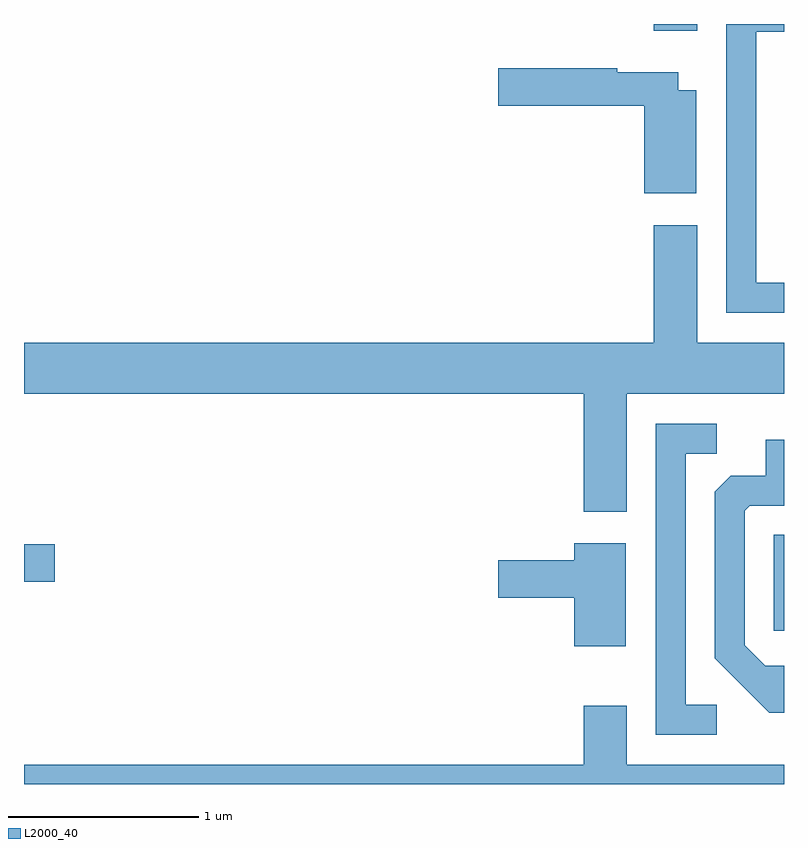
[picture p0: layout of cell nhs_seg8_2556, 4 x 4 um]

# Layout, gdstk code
import gdstk
lib = gdstk.Library(unit=1e-6, precision=1e-09)
def R(c, l, rs):  # rectangles x0, y0, x1, y1
    for r in rs: c.add(gdstk.rectangle(r[:2], r[2:], *l))
def P(c, l, *ps):  # polygons
    for p in ps: c.add(gdstk.Polygon(p, *l))
L2000_40 = (2000, 40)

nhs_seg8_2556 = lib.new_cell('nhs_seg8_2556')
R(nhs_seg8_2556, L2000_40, [(265.556,1855.148,265.611,1855.654), (261.611,1855.406,261.774,1855.604), (264.926,1858.306,265.154,1858.342)])
P(nhs_seg8_2556, L2000_40, [(265.611,1856.979),(265.464,1856.979),(265.464,1858.301),(265.611,1858.301),(265.611,1858.342),(265.306,1858.342),(265.306,1856.821),(265.611,1856.821)],
  [(265.149,1857.994),(265.054,1857.994),(265.054,1858.089),(264.734,1858.089),(264.734,1858.109),(264.106,1858.109),(264.106,1857.911),(264.876,1857.911),(264.876,1857.451),(265.149,1857.451)],
  [(264.784,1856.396),(265.611,1856.396),(265.611,1856.664),(265.154,1856.664),(265.154,1857.284),(264.926,1857.284),(264.926,1856.664),(261.611,1856.664),(261.611,1856.396),(264.556,1856.396),(264.556,1855.776),(264.784,1855.776)],
  [(265.258,1854.759),(265.094,1854.759),(265.094,1856.081),(265.258,1856.081),(265.258,1856.239),(264.936,1856.239),(264.936,1854.601),(265.258,1854.601)],
  [(265.611,1854.964),(265.512,1854.964),(265.404,1855.072),(265.404,1855.779),(265.432,1855.806),(265.611,1855.806),(265.611,1856.154),(265.516,1856.154),(265.516,1855.964),(265.332,1855.964),(265.246,1855.879),(265.246,1855.004),(265.534,1854.716),(265.611,1854.716)],
  [(264.779,1855.609),(264.506,1855.609),(264.506,1855.519),(264.106,1855.519),(264.106,1855.321),(264.506,1855.321),(264.506,1855.066),(264.779,1855.066)],
  [(265.611,1854.444),(264.784,1854.444),(264.784,1854.754),(264.556,1854.754),(264.556,1854.444),(261.611,1854.444),(261.611,1854.342),(265.611,1854.342)])

lib.write_gds('nhs_seg8_2556.gds')
